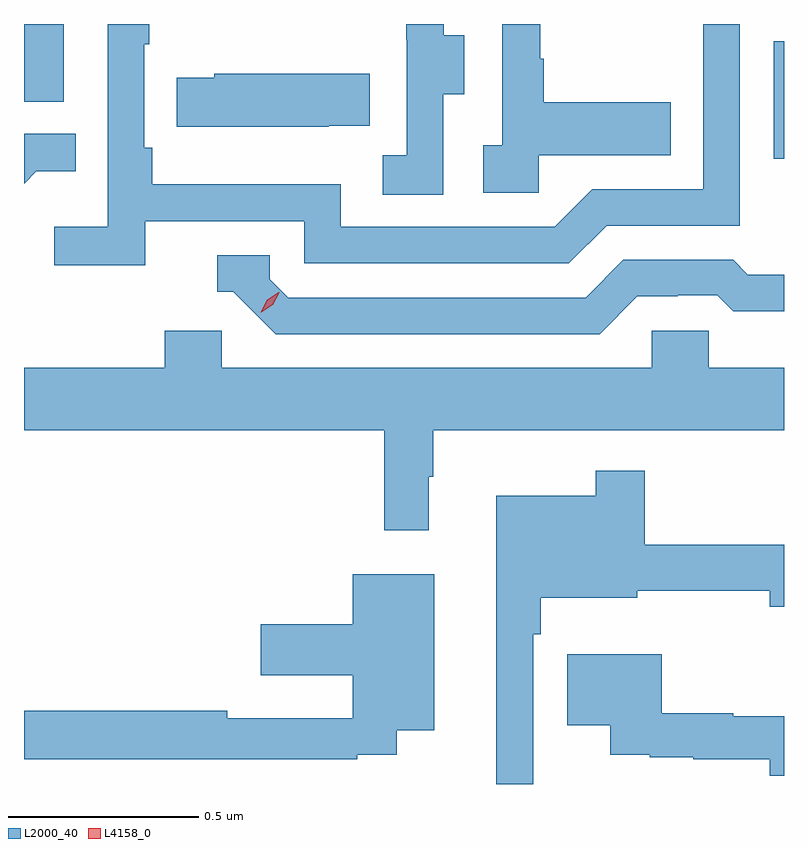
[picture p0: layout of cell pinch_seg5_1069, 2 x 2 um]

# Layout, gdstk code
import gdstk
lib = gdstk.Library(unit=1e-6, precision=1e-09)
def R(c, l, rs):  # rectangles x0, y0, x1, y1
    for r in rs: c.add(gdstk.rectangle(r[:2], r[2:], *l))
def P(c, l, *ps):  # polygons
    for p in ps: c.add(gdstk.Polygon(p, *l))
L2000_40 = (2000, 40)
L4158_0 = (4158, 0)

pinch_seg5_1069 = lib.new_cell('pinch_seg5_1069')
R(pinch_seg5_1069, L2000_40, [(877.974,872.127,878.001,872.436), (876.001,872.277,876.106,872.481)])
P(pinch_seg5_1069, L2000_40, [(876.32,871.962),(876.738,871.962),(876.738,871.851),(877.435,871.851),(877.534,871.95),(877.884,871.95),(877.884,872.481),(877.788,872.481),(877.788,872.046),(877.497,872.046),(877.398,871.947),(876.834,871.947),(876.834,872.059),(876.338,872.059),(876.338,872.155),(876.318,872.155),(876.318,872.428),(876.331,872.428),(876.331,872.481),(876.222,872.481),(876.222,871.948),(876.081,871.948),(876.081,871.846),(876.32,871.846)],
  [(877.356,872.135),(877.703,872.135),(877.703,872.275),(877.369,872.275),(877.369,872.39),(877.359,872.39),(877.359,872.481),(877.26,872.481),(877.26,872.162),(877.209,872.162),(877.209,872.037),(877.356,872.037)],
  [(877.104,872.296),(877.159,872.296),(877.159,872.451),(877.105,872.451),(877.105,872.481),(877.007,872.481),(877.007,872.439),(877.008,872.439),(877.008,872.135),(876.945,872.135),(876.945,872.032),(877.104,872.032)],
  [(876.803,872.213),(876.911,872.213),(876.911,872.35),(876.501,872.35),(876.501,872.34),(876.403,872.34),(876.403,872.21),(876.803,872.21)],
  [(876.033,872.093),(876.137,872.093),(876.137,872.192),(876.001,872.192),(876.001,872.061)],
  [(877.615,871.764),(877.722,871.764),(877.722,871.767),(877.825,871.767),(877.867,871.725),(878.001,871.725),(878.001,871.821),(877.906,871.821),(877.867,871.86),(877.578,871.86),(877.479,871.761),(876.696,871.761),(876.648,871.809),(876.648,871.872),(876.509,871.872),(876.509,871.776),(876.552,871.776),(876.663,871.665),(877.516,871.665)],
  [(877.066,871.289),(877.078,871.289),(877.078,871.412),(878.001,871.412),(878.001,871.576),(877.803,871.576),(877.803,871.674),(877.653,871.674),(877.653,871.576),(876.522,871.576),(876.522,871.674),(876.371,871.674),(876.371,871.576),(876.001,871.576),(876.001,871.412),(876.949,871.412),(876.949,871.149),(877.066,871.149)],
  [(877.341,870.875),(877.361,870.875),(877.361,870.971),(877.615,870.971),(877.615,870.99),(877.964,870.99),(877.964,870.947),(878.001,870.947),(878.001,871.111),(877.634,871.111),(877.634,871.306),(877.506,871.306),(877.506,871.24),(877.244,871.24),(877.244,870.481),(877.341,870.481)],
  [(876.878,870.558),(876.982,870.558),(876.982,870.623),(877.081,870.623),(877.081,871.033),(876.866,871.033),(876.866,870.902),(876.624,870.902),(876.624,870.767),(876.866,870.767),(876.866,870.654),(876.536,870.654),(876.536,870.674),(876.001,870.674),(876.001,870.546),(876.878,870.546)],
  [(878.001,870.659),(877.868,870.659),(877.868,870.667),(877.679,870.667),(877.679,870.823),(877.43,870.823),(877.43,870.635),(877.544,870.635),(877.544,870.558),(877.648,870.558),(877.648,870.552),(877.762,870.552),(877.762,870.546),(877.964,870.546),(877.964,870.503),(878.001,870.503)])
P(pinch_seg5_1069, L4158_0, [(876.624,871.723),(876.624,871.723),(876.641,871.756),(876.672,871.775),(876.673,871.775),(876.673,871.774),(876.656,871.742),(876.625,871.723)])

lib.write_gds('pinch_seg5_1069.gds')
